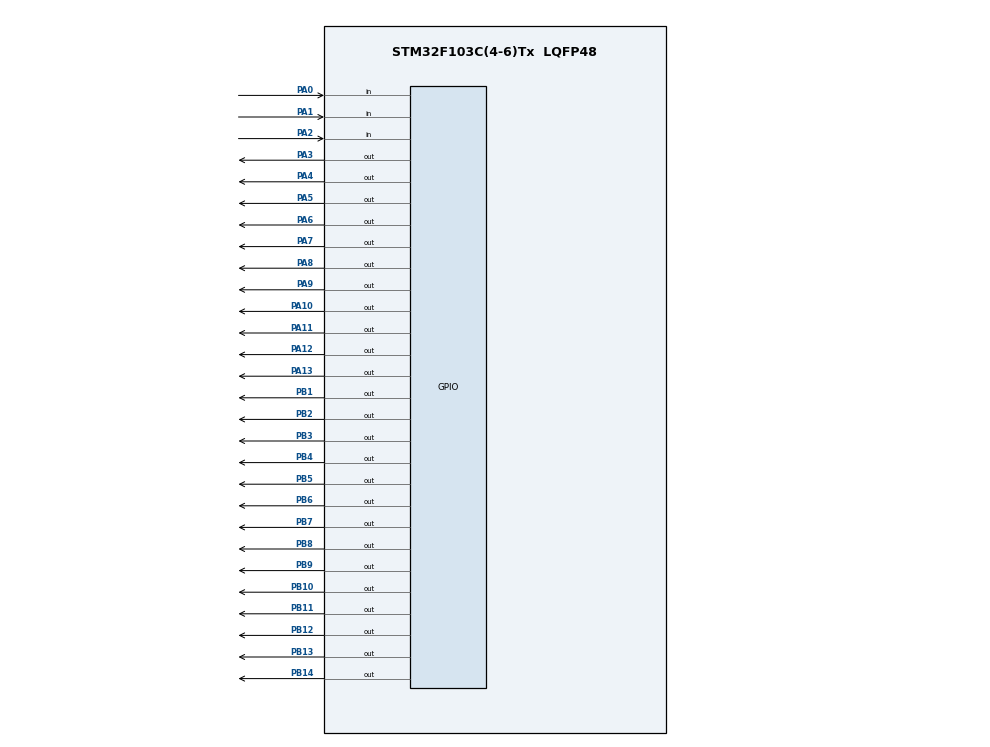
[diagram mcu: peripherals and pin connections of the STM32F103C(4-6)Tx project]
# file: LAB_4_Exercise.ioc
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Mcu.Family=STM32F1
Mcu.Name=STM32F103C(4-6)Tx
Mcu.Package=LQFP48
NVIC.PriorityGroup=NVIC_PRIORITYGROUP_4
NVIC.TIM2_IRQn=true\:0\:0\:false\:false\:true\:true\:true\:true
PA0-WKUP.Signal=GPIO_Input
PA1.Signal=GPIO_Input
PA10.Signal=GPIO_Output
PA11.Signal=GPIO_Output
PA12.Signal=GPIO_Output
PA13.Signal=GPIO_Output
PA2.Signal=GPIO_Input
PA3.Signal=GPIO_Output
PA4.Signal=GPIO_Output
PA5.Signal=GPIO_Output
PA6.Signal=GPIO_Output
PA7.Signal=GPIO_Output
PA8.Signal=GPIO_Output
PA9.Signal=GPIO_Output
PB1.Signal=GPIO_Output
PB10.Signal=GPIO_Output
PB11.Signal=GPIO_Output
PB12.Signal=GPIO_Output
PB13.Signal=GPIO_Output
PB14.Signal=GPIO_Output
PB2.Signal=GPIO_Output
PB3.Signal=GPIO_Output
PB4.Signal=GPIO_Output
PB5.Signal=GPIO_Output
PB6.Signal=GPIO_Output
PB7.Signal=GPIO_Output
PB8.Signal=GPIO_Output
PB9.Signal=GPIO_Output
ProjectManager.HeapSize=0x200
ProjectManager.StackSize=0x400
ProjectManager.TargetToolchain=STM32CubeIDE
RCC.APB1Freq_Value=8000000
RCC.APB2Freq_Value=8000000
TIM2.Period=9
TIM2.Prescaler=7999
VP_SYS_VS_ND.Mode=No_Debug
VP_TIM2_VS_ClockSourceINT.Mode=Internal
board=custom

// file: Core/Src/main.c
/* USER CODE BEGIN Header */
/**
  ******************************************************************************
  * @file           : main.c
  * @brief          : Main program body
  ******************************************************************************
  * @attention
  *
  * Copyright (c) 2025 STMicroelectronics.
  * All rights reserved.
  *
  * This software is licensed under terms that can be found in the LICENSE file
  * in the root directory of this software component.
  * If no LICENSE file comes with this software, it is provided AS-IS.
  *
  ******************************************************************************
  */
/* USER CODE END Header */

/* USER CODE BEGIN Includes */
#include "global.h"

/* USER CODE END Includes */

TIM_HandleTypeDef htim2;

void SystemClock_Config(void);
static void MX_GPIO_Init(void);
static void MX_TIM2_Init(void);

int main(void)
{

  /* MCU Configuration--------------------------------------------------------*/

  /* Reset of all peripherals, Initializes the Flash interface and the Systick. */
  HAL_Init();

  /* Configure the system clock */
  SystemClock_Config();

  /* Initialize all configured peripherals */
  MX_GPIO_Init();
  MX_TIM2_Init();
  /* USER CODE BEGIN 2 */
  HAL_TIM_Base_Start_IT(&htim2);
  led_init();
  button_init();
  SCH_Add_Task(default_led, 100, 100);
  SCH_Add_Task(button_reading, 0, 0);
  SCH_Add_Task(fsm_for_input_processing, 0, 0);
  SCH_Add_Task(led, 0, 50);
  /* USER CODE END 2 */
  /* Infinite loop */
  /* USER CODE BEGIN WHILE */
  while (1)
  {
		if(button1Flag == 1){
			SCH_Delete_Task(current_index_task-1);
			button1Flag = 0;
			switch(mode){
				case 1:
					if(button3Flag == 1){
						led_init();
						button3Flag = 0;
					}
					SCH_Add_Task(led, 0, 50);
					break;
				case 2:
					SCH_Add_Task(red_setting, 0, 50);
					break;
				case 3:
					SCH_Add_Task(yellow_setting, 0, 50);
					break;
				case 4:
					SCH_Add_Task(green_setting, 0, 50);
					break;
			}
		}
	  SCH_Dispatch_Tasks();
    /* USER CODE END WHILE */

  }
}

void SystemClock_Config(void)
{
  RCC_OscInitTypeDef RCC_OscInitStruct = {0};
  RCC_ClkInitTypeDef RCC_ClkInitStruct = {0};

  /** Initializes the RCC Oscillators according to the specified parameters
  * in the RCC_OscInitTypeDef structure.
  */
  RCC_OscInitStruct.OscillatorType = RCC_OSCILLATORTYPE_HSI;
  RCC_OscInitStruct.HSIState = RCC_HSI_ON;
  RCC_OscInitStruct.HSICalibrationValue = RCC_HSICALIBRATION_DEFAULT;
  RCC_OscInitStruct.PLL.PLLState = RCC_PLL_NONE;
  if (HAL_RCC_OscConfig(&RCC_OscInitStruct) != HAL_OK)
  {
    Error_Handler();
  }

  /** Initializes the CPU, AHB and APB buses clocks
  */
  RCC_ClkInitStruct.ClockType = RCC_CLOCKTYPE_HCLK|RCC_CLOCKTYPE_SYSCLK
                              |RCC_CLOCKTYPE_PCLK1|RCC_CLOCKTYPE_PCLK2;
  RCC_ClkInitStruct.SYSCLKSource = RCC_SYSCLKSOURCE_HSI;
  RCC_ClkInitStruct.AHBCLKDivider = RCC_SYSCLK_DIV1;
  RCC_ClkInitStruct.APB1CLKDivider = RCC_HCLK_DIV1;
  RCC_ClkInitStruct.APB2CLKDivider = RCC_HCLK_DIV1;

  if (HAL_RCC_ClockConfig(&RCC_ClkInitStruct, FLASH_LATENCY_0) != HAL_OK)
  {
    Error_Handler();
  }
}

static void MX_TIM2_Init(void)
{

  TIM_ClockConfigTypeDef sClockSourceConfig = {0};
  TIM_MasterConfigTypeDef sMasterConfig = {0};

  htim2.Instance = TIM2;
  htim2.Init.Prescaler = 7999;
  htim2.Init.CounterMode = TIM_COUNTERMODE_UP;
  htim2.Init.Period = 9;
  htim2.Init.ClockDivision = TIM_CLOCKDIVISION_DIV1;
  htim2.Init.AutoReloadPreload = TIM_AUTORELOAD_PRELOAD_DISABLE;
  if (HAL_TIM_Base_Init(&htim2) != HAL_OK)
  {
    Error_Handler();
  }
  sClockSourceConfig.ClockSource = TIM_CLOCKSOURCE_INTERNAL;
  if (HAL_TIM_ConfigClockSource(&htim2, &sClockSourceConfig) != HAL_OK)
  {
    Error_Handler();
  }
  sMasterConfig.MasterOutputTrigger = TIM_TRGO_RESET;
  sMasterConfig.MasterSlaveMode = TIM_MASTERSLAVEMODE_DISABLE;
  if (HAL_TIMEx_MasterConfigSynchronization(&htim2, &sMasterConfig) != HAL_OK)
  {
    Error_Handler();
  }

}

static void MX_GPIO_Init(void)
{
  GPIO_InitTypeDef GPIO_InitStruct = {0};

  /* GPIO Ports Clock Enable */
  __HAL_RCC_GPIOA_CLK_ENABLE();
  __HAL_RCC_GPIOB_CLK_ENABLE();

  /*Configure GPIO pin Output Level */
  HAL_GPIO_WritePin(GPIOA, GPIO_PIN_3|GPIO_PIN_4|GPIO_PIN_5|GPIO_PIN_6
                          |GPIO_PIN_7|GPIO_PIN_8|GPIO_PIN_9|GPIO_PIN_10
                          |GPIO_PIN_11|GPIO_PIN_12|GPIO_PIN_13, GPIO_PIN_SET);

  /*Configure GPIO pin Output Level */
  HAL_GPIO_WritePin(GPIOB, GPIO_PIN_1|GPIO_PIN_2|GPIO_PIN_10|GPIO_PIN_11
                          |GPIO_PIN_12|GPIO_PIN_13|GPIO_PIN_14|GPIO_PIN_3
                          |GPIO_PIN_4|GPIO_PIN_5|GPIO_PIN_6|GPIO_PIN_7
                          |GPIO_PIN_8|GPIO_PIN_9, GPIO_PIN_SET);

  /*Configure GPIO pins : PA0 PA1 PA2 */
  GPIO_InitStruct.Pin = GPIO_PIN_0|GPIO_PIN_1|GPIO_PIN_2;
  GPIO_InitStruct.Mode = GPIO_MODE_INPUT;
  GPIO_InitStruct.Pull = GPIO_PULLUP;
  HAL_GPIO_Init(GPIOA, &GPIO_InitStruct);

  /*Configure GPIO pins : PA3 PA4 PA5 PA6
                           PA7 PA8 PA9 PA10
                           PA11 PA12 PA13 */
  GPIO_InitStruct.Pin = GPIO_PIN_3|GPIO_PIN_4|GPIO_PIN_5|GPIO_PIN_6
                          |GPIO_PIN_7|GPIO_PIN_8|GPIO_PIN_9|GPIO_PIN_10
                          |GPIO_PIN_11|GPIO_PIN_12|GPIO_PIN_13;
  GPIO_InitStruct.Mode = GPIO_MODE_OUTPUT_PP;
  GPIO_InitStruct.Pull = GPIO_NOPULL;
  GPIO_InitStruct.Speed = GPIO_SPEED_FREQ_LOW;
  HAL_GPIO_Init(GPIOA, &GPIO_InitStruct);

  /*Configure GPIO pins : PB1 PB2 PB10 PB11
                           PB12 PB13 PB14 PB3
                           PB4 PB5 PB6 PB7
                           PB8 PB9 */
  GPIO_InitStruct.Pin = GPIO_PIN_1|GPIO_PIN_2|GPIO_PIN_10|GPIO_PIN_11
                          |GPIO_PIN_12|GPIO_PIN_13|GPIO_PIN_14|GPIO_PIN_3
                          |GPIO_PIN_4|GPIO_PIN_5|GPIO_PIN_6|GPIO_PIN_7
                          |GPIO_PIN_8|GPIO_PIN_9;
  GPIO_InitStruct.Mode = GPIO_MODE_OUTPUT_PP;
  GPIO_InitStruct.Pull = GPIO_NOPULL;
  GPIO_InitStruct.Speed = GPIO_SPEED_FREQ_LOW;
  HAL_GPIO_Init(GPIOB, &GPIO_InitStruct);

}

void Error_Handler(void)
{
  __disable_irq();
  while (1)
  {
  }
}
